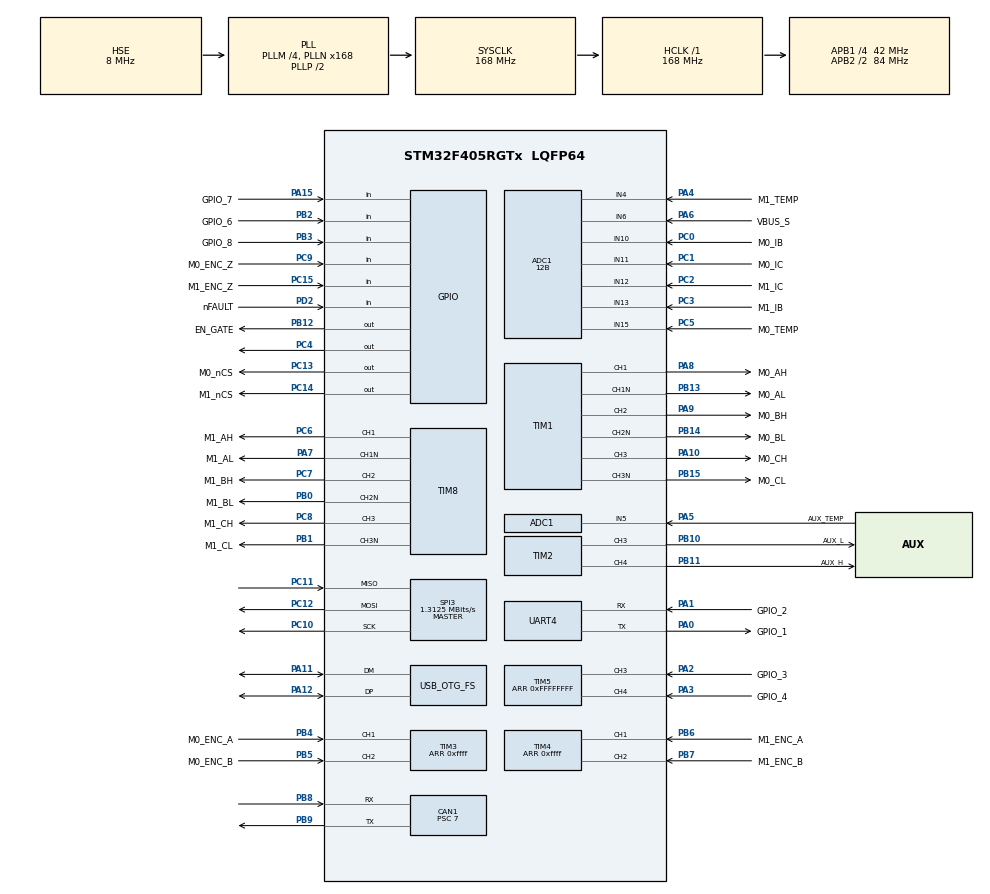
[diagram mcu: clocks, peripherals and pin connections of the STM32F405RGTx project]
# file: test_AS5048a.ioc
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ADC1.Channel-0\#ChannelRegularConversion=ADC_CHANNEL_6
ADC1.Channel-1\#ChannelInjectedConversion=ADC_CHANNEL_6
ADC1.ClockPrescaler=ADC_CLOCK_SYNC_PCLK_DIV4
ADC1.ContinuousConvMode=DISABLE
ADC1.DMAContinuousRequests=DISABLE
ADC1.DataAlign=ADC_DATAALIGN_RIGHT
ADC1.DiscontinuousConvMode=DISABLE
ADC1.EOCSelection=ADC_EOC_SINGLE_CONV
ADC1.EnableAnalogWatchDog=false
ADC1.ExternalTrigConv=ADC_SOFTWARE_START
ADC1.ExternalTrigConvEdge=ADC_EXTERNALTRIGCONVEDGE_NONE
ADC1.ExternalTrigInjecConv=ADC_EXTERNALTRIGINJECCONV_T1_TRGO
ADC1.ExternalTrigInjecConvEdge=ADC_EXTERNALTRIGINJECCONVEDGE_RISING
ADC1.InjNumberOfConversion=1
ADC1.InjectedConvMode=None
ADC1.InjectedOffset-1\#ChannelInjectedConversion=0
ADC1.NbrOfConversion=1
ADC1.NbrOfConversionFlag=1
ADC1.Rank-0\#ChannelRegularConversion=1
ADC1.Rank-1\#ChannelInjectedConversion=1
ADC1.Resolution=ADC_RESOLUTION_12B
ADC1.SamplingTime-0\#ChannelRegularConversion=ADC_SAMPLETIME_3CYCLES
ADC1.SamplingTime-1\#ChannelInjectedConversion=ADC_SAMPLETIME_3CYCLES
ADC1.ScanConvMode=DISABLE
ADC1.master=1
ADC2.Channel-0\#ChannelRegularConversion=ADC_CHANNEL_13
ADC2.Channel-1\#ChannelInjectedConversion=ADC_CHANNEL_10
ADC2.ClockPrescaler=ADC_CLOCK_SYNC_PCLK_DIV4
ADC2.ContinuousConvMode=DISABLE
ADC2.DMAContinuousRequests=DISABLE
ADC2.DataAlign=ADC_DATAALIGN_RIGHT
ADC2.DiscontinuousConvMode=DISABLE
ADC2.EOCSelection=ADC_EOC_SINGLE_CONV
ADC2.EnableAnalogWatchDog=false
ADC2.ExternalTrigConv=ADC_EXTERNALTRIGCONV_T8_TRGO
ADC2.ExternalTrigConvEdge=ADC_EXTERNALTRIGCONVEDGE_RISING
ADC2.ExternalTrigInjecConv=ADC_EXTERNALTRIGINJECCONV_T1_TRGO
ADC2.ExternalTrigInjecConvEdge=ADC_EXTERNALTRIGINJECCONVEDGE_RISING
ADC2.InjNumberOfConversion=1
ADC2.InjectedConvMode=None
ADC2.InjectedOffset-1\#ChannelInjectedConversion=0
ADC2.NbrOfConversion=1
ADC2.NbrOfConversionFlag=1
ADC2.Rank-0\#ChannelRegularConversion=1
ADC2.Rank-1\#ChannelInjectedConversion=1
ADC2.Resolution=ADC_RESOLUTION_12B
ADC2.SamplingTime-0\#ChannelRegularConversion=ADC_SAMPLETIME_3CYCLES
ADC2.SamplingTime-1\#ChannelInjectedConversion=ADC_SAMPLETIME_3CYCLES
ADC2.ScanConvMode=DISABLE
ADC3.Channel-7\#ChannelRegularConversion=ADC_CHANNEL_12
ADC3.Channel-8\#ChannelInjectedConversion=ADC_CHANNEL_11
ADC3.ClockPrescaler=ADC_CLOCK_SYNC_PCLK_DIV4
ADC3.ContinuousConvMode=DISABLE
ADC3.DMAContinuousRequests=DISABLE
ADC3.DataAlign=ADC_DATAALIGN_RIGHT
ADC3.DiscontinuousConvMode=DISABLE
ADC3.EOCSelection=ADC_EOC_SINGLE_CONV
ADC3.EnableAnalogWatchDog=false
ADC3.ExternalTrigConv=ADC_EXTERNALTRIGCONV_T8_TRGO
ADC3.ExternalTrigConvEdge=ADC_EXTERNALTRIGCONVEDGE_RISING
ADC3.ExternalTrigInjecConv=ADC_EXTERNALTRIGINJECCONV_T1_TRGO
ADC3.ExternalTrigInjecConvEdge=ADC_EXTERNALTRIGINJECCONVEDGE_RISING
ADC3.InjNumberOfConversion=1
ADC3.InjectedConvMode=None
ADC3.InjectedOffset-8\#ChannelInjectedConversion=0
ADC3.NbrOfConversion=1
ADC3.NbrOfConversionFlag=1
ADC3.Rank-7\#ChannelRegularConversion=1
ADC3.Rank-8\#ChannelInjectedConversion=1
ADC3.Resolution=ADC_RESOLUTION_12B
ADC3.SamplingTime-7\#ChannelRegularConversion=ADC_SAMPLETIME_3CYCLES
ADC3.SamplingTime-8\#ChannelInjectedConversion=ADC_SAMPLETIME_3CYCLES
ADC3.ScanConvMode=DISABLE
CAN1.AutoWakeUp=ENABLE
CAN1.BS1=CAN_BS1_6TQ
CAN1.BS2=CAN_BS2_5TQ
CAN1.CalculateBaudRate=499999
CAN1.CalculateTimeBit=2000
CAN1.CalculateTimeQuantum=166.66666666666669
CAN1.Prescaler=7
CAN1.TimeSeg1=CAN_BS1_6TQ
CAN1.TimeSeg2=CAN_BS2_5TQ
Dma.ADC1.2.Direction=DMA_PERIPH_TO_MEMORY
Dma.ADC1.2.FIFOMode=DMA_FIFOMODE_DISABLE
Dma.ADC1.2.Instance=DMA2_Stream0
Dma.ADC1.2.MemDataAlignment=DMA_MDATAALIGN_HALFWORD
Dma.ADC1.2.MemInc=DMA_MINC_ENABLE
Dma.ADC1.2.Mode=DMA_CIRCULAR
Dma.ADC1.2.PeriphDataAlignment=DMA_PDATAALIGN_HALFWORD
Dma.ADC1.2.PeriphInc=DMA_PINC_DISABLE
Dma.ADC1.2.Priority=DMA_PRIORITY_LOW
Dma.Request0=UART4_RX
Dma.Request1=UART4_TX
Dma.Request2=ADC1
Dma.UART4_RX.0.Direction=DMA_PERIPH_TO_MEMORY
Dma.UART4_RX.0.FIFOMode=DMA_FIFOMODE_DISABLE
Dma.UART4_RX.0.Instance=DMA1_Stream2
Dma.UART4_RX.0.MemDataAlignment=DMA_MDATAALIGN_BYTE
Dma.UART4_RX.0.MemInc=DMA_MINC_ENABLE
Dma.UART4_RX.0.Mode=DMA_CIRCULAR
Dma.UART4_RX.0.PeriphDataAlignment=DMA_PDATAALIGN_BYTE
Dma.UART4_RX.0.PeriphInc=DMA_PINC_DISABLE
Dma.UART4_RX.0.Priority=DMA_PRIORITY_LOW
Dma.UART4_TX.1.Direction=DMA_MEMORY_TO_PERIPH
Dma.UART4_TX.1.FIFOMode=DMA_FIFOMODE_DISABLE
Dma.UART4_TX.1.Instance=DMA1_Stream4
Dma.UART4_TX.1.MemDataAlignment=DMA_MDATAALIGN_BYTE
Dma.UART4_TX.1.MemInc=DMA_MINC_ENABLE
Dma.UART4_TX.1.Mode=DMA_NORMAL
Dma.UART4_TX.1.PeriphDataAlignment=DMA_PDATAALIGN_BYTE
Dma.UART4_TX.1.PeriphInc=DMA_PINC_DISABLE
Dma.UART4_TX.1.Priority=DMA_PRIORITY_LOW
FREERTOS.INCLUDE_uxTaskGetStackHighWaterMark=1
FREERTOS.INCLUDE_vTaskDelayUntil=1
FREERTOS.Tasks01=defaultTask,0,256,StartDefaultTask,Default,NULL,Dynamic,NULL,NULL
FREERTOS.configCHECK_FOR_STACK_OVERFLOW=1
FREERTOS.configTOTAL_HEAP_SIZE=65536
FREERTOS.configUSE_IDLE_HOOK=1
Mcu.Family=STM32F4
Mcu.Name=STM32F405RGTx
Mcu.Package=LQFP64
Mcu.UserConstants=TIM_1_8_CLOCK_HZ,168000000;TIM_1_8_PERIOD_CLOCKS,3500;TIM_1_8_DEADTIME_CLOCKS,20;TIM_APB1_CLOCK_HZ,84000000;TIM_APB1_PERIOD_CLOCKS,4096;TIM_APB1_DEADTIME_CLOCKS,40;TIM_1_8_RCR,2
NVIC.ADC_IRQn=true\:5\:0\:false\:false\:true\:true\:true\:true\:true
NVIC.CAN1_RX0_IRQn=true\:6\:0\:true\:false\:true\:true\:true\:true\:true
NVIC.CAN1_RX1_IRQn=true\:6\:0\:true\:false\:true\:true\:true\:true\:true
NVIC.CAN1_SCE_IRQn=true\:6\:0\:true\:false\:true\:true\:true\:true\:true
NVIC.CAN1_TX_IRQn=true\:6\:0\:true\:false\:true\:true\:true\:true\:true
NVIC.DMA1_Stream2_IRQn=true\:5\:0\:false\:false\:true\:true\:true\:true\:true
NVIC.DMA1_Stream4_IRQn=true\:5\:0\:false\:false\:true\:true\:false\:true\:true
NVIC.DMA2_Stream0_IRQn=true\:5\:0\:false\:false\:false\:true\:false\:true\:true
NVIC.OTG_FS_IRQn=true\:5\:0\:false\:false\:true\:true\:true\:true\:true
NVIC.PriorityGroup=NVIC_PRIORITYGROUP_4
NVIC.SPI3_IRQn=true\:5\:0\:false\:false\:true\:true\:true\:true\:true
NVIC.TIM1_UP_TIM10_IRQn=true\:5\:0\:false\:false\:false\:false\:true\:true\:true
NVIC.TIM5_IRQn=true\:5\:0\:false\:false\:true\:true\:true\:true\:true
NVIC.TIM8_TRG_COM_TIM14_IRQn=true\:0\:0\:false\:false\:true\:false\:false\:true\:true
NVIC.TIM8_UP_TIM13_IRQn=true\:5\:0\:false\:false\:false\:false\:true\:true\:true
NVIC.TimeBase=TIM8_TRG_COM_TIM14_IRQn
NVIC.TimeBaseIP=TIM14
NVIC.UART4_IRQn=true\:5\:0\:false\:false\:true\:true\:true\:true\:true
PA0-WKUP.GPIO_Label=GPIO_1
PA0-WKUP.GPIO_PuPd=GPIO_PULLDOWN
PA0-WKUP.Signal=SharedStack_PA0
PA0-WKUP.Stacked=true
PA1.GPIO_Label=GPIO_2
PA1.GPIO_PuPd=GPIO_NOPULL
PA1.Signal=SharedStack_PA1
PA1.Stacked=true
PA10.GPIO_Label=M0_CH
PA10.Signal=S_TIM1_CH3
PA11.Mode=Device_Only
PA11.Signal=USB_OTG_FS_DM
PA12.Mode=Device_Only
PA12.Signal=USB_OTG_FS_DP
PA13.Mode=Serial_Wire
PA13.Signal=SYS_JTMS-SWDIO
PA14.Mode=Serial_Wire
PA14.Signal=SYS_JTCK-SWCLK
PA15.GPIO_Label=GPIO_7
PA15.Signal=GPIO_Input
PA2.GPIO_Label=GPIO_3
PA2.Signal=S_TIM5_CH3
PA3.GPIO_Label=GPIO_4
PA3.Signal=S_TIM5_CH4
PA4.GPIO_Label=M1_TEMP
PA4.Signal=ADCx_IN4
PA5.GPIO_Label=AUX_TEMP
PA5.Signal=ADCx_IN5
PA6.GPIO_Label=VBUS_S
PA6.Signal=ADCx_IN6
PA7.GPIO_Label=M1_AL
PA7.Mode=PWM Generation1 CH1 CH1N
PA7.Signal=TIM8_CH1N
PA8.GPIO_Label=M0_AH
PA8.Signal=S_TIM1_CH1
PA9.GPIO_Label=M0_BH
PA9.Signal=S_TIM1_CH2
PB0.GPIO_Label=M1_BL
PB0.Mode=PWM Generation2 CH2 CH2N
PB0.Signal=TIM8_CH2N
PB1.GPIO_Label=M1_CL
PB1.Mode=PWM Generation3 CH3 CH3N
PB1.Signal=TIM8_CH3N
PB10.GPIO_Label=AUX_L
PB10.Signal=S_TIM2_CH3
PB11.GPIO_Label=AUX_H
PB11.Signal=S_TIM2_CH4
PB12.GPIO_Label=EN_GATE
PB12.Signal=GPIO_Output
PB13.GPIO_Label=M0_AL
PB13.Mode=PWM Generation1 CH1 CH1N
PB13.Signal=TIM1_CH1N
PB14.GPIO_Label=M0_BL
PB14.Mode=PWM Generation2 CH2 CH2N
PB14.Signal=TIM1_CH2N
PB15.GPIO_Label=M0_CL
PB15.Mode=PWM Generation3 CH3 CH3N
PB15.Signal=TIM1_CH3N
PB2.GPIO_Label=GPIO_6
PB2.Signal=GPIO_Input
PB3.GPIO_Label=GPIO_8
PB3.Signal=GPIO_Input
PB4.GPIO_Label=M0_ENC_A
PB4.Signal=S_TIM3_CH1
PB5.GPIO_Label=M0_ENC_B
PB5.Signal=S_TIM3_CH2
PB6.GPIO_Label=M1_ENC_A
PB6.Signal=S_TIM4_CH1
PB7.GPIO_Label=M1_ENC_B
PB7.Signal=S_TIM4_CH2
PB8.Signal=SharedStack_PB8
PB8.Stacked=true
PB9.Signal=SharedStack_PB9
PB9.Stacked=true
PC0.GPIO_Label=M0_IB
PC0.Signal=ADCx_IN10
PC1.GPIO_Label=M0_IC
PC1.Signal=ADCx_IN11
PC10.Mode=Full_Duplex_Master
PC10.Signal=SPI3_SCK
PC11.Mode=Full_Duplex_Master
PC11.Signal=SPI3_MISO
PC12.Mode=Full_Duplex_Master
PC12.Signal=SPI3_MOSI
PC13-ANTI_TAMP.GPIO_Label=M0_nCS
PC13-ANTI_TAMP.PinState=GPIO_PIN_SET
PC13-ANTI_TAMP.Signal=GPIO_Output
PC14-OSC32_IN.GPIO_Label=M1_nCS
PC14-OSC32_IN.PinState=GPIO_PIN_SET
PC14-OSC32_IN.Signal=GPIO_Output
PC15-OSC32_OUT.GPIO_Label=M1_ENC_Z
PC15-OSC32_OUT.Signal=GPIO_Input
PC2.GPIO_Label=M1_IC
PC2.Signal=ADCx_IN12
PC3.GPIO_Label=M1_IB
PC3.Signal=ADCx_IN13
PC4.GPIO_PuPd=GPIO_PULLUP
PC4.GPIO_Speed=GPIO_SPEED_FREQ_MEDIUM
PC4.PinState=GPIO_PIN_SET
PC4.Signal=GPIO_Output
PC5.GPIO_Label=M0_TEMP
PC5.Signal=ADCx_IN15
PC6.GPIO_Label=M1_AH
PC6.Signal=S_TIM8_CH1
PC7.GPIO_Label=M1_BH
PC7.Signal=S_TIM8_CH2
PC8.GPIO_Label=M1_CH
PC8.Signal=S_TIM8_CH3
PC9.GPIO_Label=M0_ENC_Z
PC9.Signal=GPIO_Input
PD2.GPIO_Label=nFAULT
PD2.GPIO_PuPd=GPIO_PULLUP
PD2.Signal=GPIO_Input
PH0-OSC_IN.Mode=HSE-External-Oscillator
PH0-OSC_IN.Signal=RCC_OSC_IN
PH1-OSC_OUT.Mode=HSE-External-Oscillator
PH1-OSC_OUT.Signal=RCC_OSC_OUT
ProjectManager.HeapSize=0x3C00
ProjectManager.StackSize=0x800
ProjectManager.TargetToolchain=CMake
RCC.48MHZClocksFreq_Value=48000000
RCC.AHBFreq_Value=168000000
RCC.APB1CLKDivider=RCC_HCLK_DIV4
RCC.APB1Freq_Value=42000000
RCC.APB1TimFreq_Value=84000000
RCC.APB2CLKDivider=RCC_HCLK_DIV2
RCC.APB2Freq_Value=84000000
RCC.APB2TimCLKDivider=1
RCC.APB2TimFreq_Value=84000000
RCC.CortexFreq_Value=168000000
RCC.HCLKFreq_Value=168000000
RCC.HSE_VALUE=8000000
RCC.HSI_VALUE=16000000
RCC.LSE_VALUE=32768
RCC.PLLM=4
RCC.PLLN=168
RCC.PLLQ=7
RCC.SYSCLKFreq_VALUE=168000000
RCC.SYSCLKSource=RCC_SYSCLKSOURCE_PLLCLK
RCC.VCOOutputFreq_Value=336000000
SH.ADCx_IN10.0=ADC1_IN10,IN10
SH.ADCx_IN10.1=ADC2_IN10,IN10
SH.ADCx_IN10.2=ADC3_IN10,IN10
SH.ADCx_IN11.0=ADC1_IN11,IN11
SH.ADCx_IN11.1=ADC2_IN11,IN11
SH.ADCx_IN11.2=ADC3_IN11,IN11
SH.ADCx_IN12.0=ADC1_IN12,IN12
SH.ADCx_IN12.1=ADC2_IN12,IN12
SH.ADCx_IN12.2=ADC3_IN12,IN12
SH.ADCx_IN13.0=ADC1_IN13,IN13
SH.ADCx_IN13.1=ADC2_IN13,IN13
SH.ADCx_IN13.2=ADC3_IN13,IN13
SH.ADCx_IN15.0=ADC1_IN15,IN15
SH.ADCx_IN15.1=ADC2_IN15,IN15
SH.ADCx_IN4.0=ADC1_IN4,IN4
SH.ADCx_IN4.1=ADC2_IN4,IN4
SH.ADCx_IN5.0=ADC1_IN5,IN5
SH.ADCx_IN5.1=ADC2_IN5,IN5
SH.ADCx_IN6.0=ADC1_IN6,IN6
SH.ADCx_IN6.1=ADC2_IN6,IN6
SH.S_TIM1_CH1.0=TIM1_CH1,PWM Generation1 CH1 CH1N
SH.S_TIM1_CH2.0=TIM1_CH2,PWM Generation2 CH2 CH2N
SH.S_TIM1_CH3.0=TIM1_CH3,PWM Generation3 CH3 CH3N
SH.S_TIM2_CH3.0=TIM2_CH3,PWM Generation3 CH3
SH.S_TIM2_CH4.0=TIM2_CH4,PWM Generation4 CH4
SH.S_TIM3_CH1.0=TIM3_CH1,Encoder_Interface
SH.S_TIM3_CH2.0=TIM3_CH2,Encoder_Interface
SH.S_TIM4_CH1.0=TIM4_CH1,Encoder_Interface
SH.S_TIM4_CH2.0=TIM4_CH2,Encoder_Interface
SH.S_TIM5_CH3.0=TIM5_CH3,Input_Capture3_from_TI3
SH.S_TIM5_CH4.0=TIM5_CH4,Input_Capture4_from_TI4
SH.S_TIM8_CH1.0=TIM8_CH1,PWM Generation1 CH1 CH1N
SH.S_TIM8_CH2.0=TIM8_CH2,PWM Generation2 CH2 CH2N
SH.S_TIM8_CH3.0=TIM8_CH3,PWM Generation3 CH3 CH3N
SH.SharedStack_PA0.0=GPIO_EXTI0+0
SH.SharedStack_PA0.1=UART4_TX,Asynchronous
SH.SharedStack_PA1.0=GPIO_Input+0
SH.SharedStack_PA1.1=UART4_RX,Asynchronous
SH.SharedStack_PB8.0=CAN1_RX,CAN_Activate
SH.SharedStack_PB8.1=I2C1_SCL
SH.SharedStack_PB9.0=CAN1_TX,CAN_Activate
SH.SharedStack_PB9.1=I2C1_SDA
SPI3.BaudRatePrescaler=SPI_BAUDRATEPRESCALER_32
SPI3.CLKPhase=SPI_PHASE_2EDGE
SPI3.CalculateBaudRate=1.3125 MBits/s
SPI3.DataSize=SPI_DATASIZE_16BIT
SPI3.Direction=SPI_DIRECTION_2LINES
SPI3.FirstBit=SPI_FIRSTBIT_MSB
SPI3.Mode=SPI_MODE_MASTER
SPI3.VirtualType=VM_MASTER
TIM1.Channel-Output\ Compare4\ No\ Output=TIM_CHANNEL_4
TIM1.Channel-PWM\ Generation1\ CH1\ CH1N=TIM_CHANNEL_1
TIM1.Channel-PWM\ Generation2\ CH2\ CH2N=TIM_CHANNEL_2
TIM1.Channel-PWM\ Generation3\ CH3\ CH3N=TIM_CHANNEL_3
TIM1.CounterMode=TIM_COUNTERMODE_CENTERALIGNED3
TIM1.DeadTime=TIM_1_8_DEADTIME_CLOCKS
TIM1.OCMode_PWM-PWM\ Generation1\ CH1\ CH1N=TIM_OCMODE_PWM2
TIM1.OCMode_PWM-PWM\ Generation2\ CH2\ CH2N=TIM_OCMODE_PWM2
TIM1.OCMode_PWM-PWM\ Generation3\ CH3\ CH3N=TIM_OCMODE_PWM2
TIM1.OCNPolarity_1=TIM_OCNPOLARITY_HIGH
TIM1.OCNPolarity_2=TIM_OCNPOLARITY_HIGH
TIM1.OCNPolarity_3=TIM_OCNPOLARITY_HIGH
TIM1.OffStateIDLEMode=TIM_OSSI_ENABLE
TIM1.OffStateRunMode=TIM_OSSR_ENABLE
TIM1.Period=TIM_1_8_PERIOD_CLOCKS
TIM1.RepetitionCounter=TIM_1_8_RCR
TIM1.TIM_MasterOutputTrigger=TIM_TRGO_UPDATE
TIM13.Period=(2 * TIM_1_8_PERIOD_CLOCKS * (TIM_1_8_RCR+1)) * (TIM_APB1_CLOCK_HZ / TIM_1_8_CLOCK_HZ)
TIM2.Channel-PWM\ Generation3\ CH3=TIM_CHANNEL_3
TIM2.Channel-PWM\ Generation4\ CH4=TIM_CHANNEL_4
TIM2.CounterMode=TIM_COUNTERMODE_CENTERALIGNED3
TIM2.OCMode_PWM-PWM\ Generation3\ CH3=TIM_OCMODE_PWM2
TIM2.OCMode_PWM-PWM\ Generation4\ CH4=TIM_OCMODE_PWM2
TIM2.OCPolarity_3=TIM_OCPOLARITY_LOW
TIM2.Period=TIM_APB1_PERIOD_CLOCKS
TIM2.Pulse-PWM\ Generation4\ CH4=TIM_APB1_PERIOD_CLOCKS+1
TIM3.EncoderMode=TIM_ENCODERMODE_TI12
TIM3.IC1Filter=4
TIM3.IC1Polarity=TIM_ICPOLARITY_RISING
TIM3.IC2Filter=4
TIM3.IC2Polarity=TIM_ICPOLARITY_RISING
TIM3.Period=0xffff
TIM4.EncoderMode=TIM_ENCODERMODE_TI12
TIM4.IC1Filter=4
TIM4.IC1Polarity=TIM_ICPOLARITY_RISING
TIM4.IC2Filter=4
TIM4.IC2Polarity=TIM_ICPOLARITY_RISING
TIM4.Period=0xffff
TIM5.Channel-Input_Capture3_from_TI3=TIM_CHANNEL_3
TIM5.Channel-Input_Capture4_from_TI4=TIM_CHANNEL_4
TIM5.ICFilter_CH3=15
TIM5.ICFilter_CH4=15
TIM5.ICPolarity_CH3=TIM_INPUTCHANNELPOLARITY_BOTHEDGE
TIM5.ICPolarity_CH4=TIM_INPUTCHANNELPOLARITY_BOTHEDGE
TIM5.Period=0xFFFFFFFF
TIM8.Channel-Output\ Compare4\ No\ Output=TIM_CHANNEL_4
TIM8.Channel-PWM\ Generation1\ CH1\ CH1N=TIM_CHANNEL_1
TIM8.Channel-PWM\ Generation2\ CH2\ CH2N=TIM_CHANNEL_2
TIM8.Channel-PWM\ Generation3\ CH3\ CH3N=TIM_CHANNEL_3
TIM8.CounterMode=TIM_COUNTERMODE_CENTERALIGNED3
TIM8.DeadTime=TIM_1_8_DEADTIME_CLOCKS
TIM8.OCMode_PWM-PWM\ Generation1\ CH1\ CH1N=TIM_OCMODE_PWM2
TIM8.OCMode_PWM-PWM\ Generation2\ CH2\ CH2N=TIM_OCMODE_PWM2
TIM8.OCMode_PWM-PWM\ Generation3\ CH3\ CH3N=TIM_OCMODE_PWM2
TIM8.OffStateIDLEMode=TIM_OSSI_ENABLE
TIM8.OffStateRunMode=TIM_OSSR_ENABLE
TIM8.Period=TIM_1_8_PERIOD_CLOCKS
TIM8.RepetitionCounter=TIM_1_8_RCR
TIM8.TIM_MasterOutputTrigger=TIM_TRGO_UPDATE
UART4.VirtualMode=Asynchronous
USB_DEVICE.APP_RX_DATA_SIZE-CDC_FS=64
USB_DEVICE.APP_TX_DATA_SIZE-CDC_FS=64
USB_DEVICE.CLASS_NAME_FS=CDC
USB_DEVICE.MANUFACTURER_STRING-CDC_FS=ODrive Robotics
USB_DEVICE.PID_CDC_FS=0x0D32
USB_DEVICE.PRODUCT_STRING_CDC_FS=ODrive v3.3
USB_DEVICE.SERIALNUMBER_STRING_CDC_FS=000000000001
USB_DEVICE.VID-CDC_FS=0x1209
USB_DEVICE.VirtualMode-CDC_FS=Cdc
USB_DEVICE.VirtualModeFS=Cdc_FS
USB_OTG_FS.VirtualMode=Device_Only
USB_OTG_FS.vbus_sensing_enable=DISABLE
VP_FREERTOS_VS_CMSIS_V1.Mode=CMSIS_V1
VP_SYS_VS_tim14.Mode=TIM14
VP_TIM13_VS_ClockSourceINT.Mode=Enable_Timer
VP_TIM1_VS_ClockSourceINT.Mode=Internal
VP_TIM1_VS_no_output4.Mode=Output Compare4 No Output
VP_USB_DEVICE_VS_USB_DEVICE_CDC_FS.Mode=CDC_FS
board=Odrive

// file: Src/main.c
/* USER CODE BEGIN Header */
/**
  ******************************************************************************
  * @file           : main.c
  * @brief          : Main program body
  ******************************************************************************
  */
/* USER CODE END Header */
#include "main.h"
#include "cmsis_os.h"
#include "adc.h"
#include "can.h"
#include "dma.h"
#include "spi.h"
#include "tim.h"
#include "usart.h"
#include "usb_device.h"
#include "gpio.h"

/* USER CODE BEGIN Includes */
#include <math.h>
#include "drv8301.h"
#include "foc.h"
#include "as5048a.h"
/* USER CODE END Includes */

/* USER CODE BEGIN PD */

#define SMA_WINDOW_SIZE 8
#define ENC_ERR_LIMIT 50
#define CALIB_VOLTAGE 0.35f

typedef struct
{
  uint16_t buf[SMA_WINDOW_SIZE];
  uint8_t idx;

}AngleSMA_t;

/* USER CODE END PD */

/* USER CODE BEGIN PV */
volatile uint8_t g_drv_status = 0xFF;
volatile uint16_t g_enc_raw = 0;
volatile float    g_enc_filt_counts = 0.0f;
volatile float    g_enc_filt_deg   = 0.0f;
volatile uint16_t g_enc_err        = 0;
volatile uint8_t  g_fault          = 0;
volatile uint32_t g_isr_cycles     = 0;

static AngleSMA_t g_sma;

volatile float current_angle = 0.0f;
volatile uint16_t current_raw = 0;

volatile float g_target_vq = 0.2f;

volatile float    dbg_theta_elec = 0.0f;
volatile float    dbg_vd = 0.0f;
volatile float    dbg_vq = 0.0f;
volatile uint16_t dbg_ccr1 = 0;
volatile uint16_t dbg_ccr2 = 0;
volatile uint16_t dbg_ccr3 = 0;
/* USER CODE END PV */

void SystemClock_Config(void);
void MX_FREERTOS_Init(void);

/* USER CODE BEGIN 0 */

static void AngleSMA_Init(AngleSMA_t *f, uint16_t raw)
{
  for(int i = 0; i < SMA_WINDOW_SIZE; i++)
  {
    f->buf[i] = raw;
  }

  f->idx = 0;
}

static float AngleSMA_Update(AngleSMA_t *f, uint16_t raw)
{
  f->buf[f->idx] = raw;
  f->idx = (uint8_t)((f->idx + 1) & (SMA_WINDOW_SIZE - 1));

  int32_t sum = 0;
  for(int i = 0; i < SMA_WINDOW_SIZE; i++)
  {
    int32_t d = (int32_t)f->buf[i] - (int32_t)raw;
    d = ((d + 8192) & 16383) - 8192; /* wrap [-8192 ; 8191]*/
    sum += d;
  }

  float out = (float)raw + (float)sum * (1.0f / (float)SMA_WINDOW_SIZE);

  if(out < 0.0f) out += 16384.0f;
  if(out > 16384.0f) out -= 16384.0f;

  return out;
}

static uint16_t WaitValidRaw(void)
{
  uint16_t r;
  do
  {
    r = AS5048A_ReadRaw();
    // for(volatile int i = 0; i < 5000; i++)
    // {
    //   __NOP();
    // }
    HAL_Delay(1);
  } while((r == AS5048A_ERR));

  return r;
}

/* USER CODE END 0 */

int main(void)
{

  /* MCU Configuration--------------------------------------------------------*/

  /* Reset of all peripherals, Initializes the Flash interface and the Systick. */
  HAL_Init();

  /* Configure the system clock */
  SystemClock_Config();

  /* Initialize all configured peripherals */
  MX_GPIO_Init();
  MX_DMA_Init();
  MX_ADC1_Init();
  MX_ADC2_Init();
  MX_CAN1_Init();
  MX_TIM1_Init();
  MX_TIM8_Init();
  MX_TIM3_Init();
  MX_TIM4_Init();
  MX_SPI3_Init();
  MX_ADC3_Init();
  MX_TIM2_Init();
  MX_UART4_Init();
  MX_TIM5_Init();
  MX_TIM13_Init();
  /* USER CODE BEGIN 2 */

  CoreDebug->DEMCR |= CoreDebug_DEMCR_TRCENA_Msk;
  DWT->CYCCNT = 0;
  DWT->CTRL |= DWT_CTRL_CYCCNTENA_Msk;

  //1.Encoder - AS5048A
  if(AS5048A_Init(&hspi3) != 0)
  {
    Error_Handler();
  }
  (void)WaitValidRaw();

  //2. Driver - DRV8301
  g_drv_status = DRV8301_M1_Init(DRV8301_GAIN_20VpV);
  if(g_drv_status != 0)
  {
    Error_Handler();
  }

  //3. Set duty 50% (0V) before starting
  FOC_M1_Init();
  HAL_GPIO_WritePin(GPIOB, GPIO_PIN_12, GPIO_PIN_SET); /*EN_GATE DRV8301*/

  //Enable TIM8 for controlling Motor 1
  HAL_TIM_PWM_Start(&htim8, TIM_CHANNEL_1);
  HAL_TIMEx_PWMN_Start(&htim8, TIM_CHANNEL_1);

  HAL_TIM_PWM_Start(&htim8, TIM_CHANNEL_2);
  HAL_TIMEx_PWMN_Start(&htim8, TIM_CHANNEL_2);

  HAL_TIM_PWM_Start(&htim8, TIM_CHANNEL_3);
  HAL_TIMEx_PWMN_Start(&htim8, TIM_CHANNEL_3);
  TIM8->BDTR |= TIM_BDTR_MOE; //Enable H bridge

  //4. Align Motor
  if(FOC_AutoCalibrate(CALIB_VOLTAGE) != 0)
  {
    Error_Handler(); //check g_calib_err
  }

  //5. SMA Init
  AngleSMA_Init(&g_sma, WaitValidRaw());
  AS5048A_Prime();

  //6. Enable TIM8 ISR Function
  __HAL_TIM_CLEAR_FLAG(&htim8, TIM_FLAG_UPDATE);
  HAL_TIM_Base_Start_IT(&htim8);

  /* USER CODE END 2 */

  while(1)
  {

}
}
void SystemClock_Config(void)
{
  RCC_OscInitTypeDef RCC_OscInitStruct = {0};
  RCC_ClkInitTypeDef RCC_ClkInitStruct = {0};

  /** Configure the main internal regulator output voltage
  */
  __HAL_RCC_PWR_CLK_ENABLE();
  __HAL_PWR_VOLTAGESCALING_CONFIG(PWR_REGULATOR_VOLTAGE_SCALE1);

  /** Initializes the RCC Oscillators according to the specified parameters
  * in the RCC_OscInitTypeDef structure.
  */
  RCC_OscInitStruct.OscillatorType = RCC_OSCILLATORTYPE_LSI|RCC_OSCILLATORTYPE_HSE;
  RCC_OscInitStruct.HSEState = RCC_HSE_ON;
  RCC_OscInitStruct.LSIState = RCC_LSI_ON;
  RCC_OscInitStruct.PLL.PLLState = RCC_PLL_ON;
  RCC_OscInitStruct.PLL.PLLSource = RCC_PLLSOURCE_HSE;
  RCC_OscInitStruct.PLL.PLLM = 4;
  RCC_OscInitStruct.PLL.PLLN = 168;
  RCC_OscInitStruct.PLL.PLLP = RCC_PLLP_DIV2;
  RCC_OscInitStruct.PLL.PLLQ = 7;
  if (HAL_RCC_OscConfig(&RCC_OscInitStruct) != HAL_OK)
  {
    Error_Handler();
  }

  /** Initializes the CPU, AHB and APB buses clocks
  */
  RCC_ClkInitStruct.ClockType = RCC_CLOCKTYPE_HCLK|RCC_CLOCKTYPE_SYSCLK
                              |RCC_CLOCKTYPE_PCLK1|RCC_CLOCKTYPE_PCLK2;
  RCC_ClkInitStruct.SYSCLKSource = RCC_SYSCLKSOURCE_PLLCLK;
  RCC_ClkInitStruct.AHBCLKDivider = RCC_SYSCLK_DIV1;
  RCC_ClkInitStruct.APB1CLKDivider = RCC_HCLK_DIV4;
  RCC_ClkInitStruct.APB2CLKDivider = RCC_HCLK_DIV2;

  if (HAL_RCC_ClockConfig(&RCC_ClkInitStruct, FLASH_LATENCY_5) != HAL_OK)
  {
    Error_Handler();
  }
}

void HAL_TIM_PeriodElapsedCallback(TIM_HandleTypeDef *htim)
{
  /* USER CODE BEGIN Callback 0 */
  if(htim->Instance == TIM8)
  {
    uint32_t t0 = DWT->CYCCNT;

    uint16_t raw = AS5048A_ReadFast();
    if(raw != AS5048A_ERR)
    {
      g_enc_err = 0;
      g_enc_raw = raw;
      float ang = AngleSMA_Update(&g_sma, raw); //count
      g_enc_filt_counts = ang;
      g_enc_filt_deg = ang * (360.0f / 16384.0f);

      FOC_VoltageMode_Step(ang, g_target_vq);
      dbg_ccr1 = TIM8->CCR1;
    dbg_ccr2 = TIM8->CCR2;
    dbg_ccr3 = TIM8->CCR3;
    }
    else if( ++g_enc_err > ENC_ERR_LIMIT)
    {
      FOC_M1_EmergencyStop();
      g_fault = 1;
    }
    g_isr_cycles = DWT->CYCCNT - t0;
  }

  /* USER CODE END Callback 0 */
  if (htim->Instance == TIM14)
  {
    HAL_IncTick();
  }
}

void Error_Handler(void)
{
  /* USER CODE BEGIN Error_Handler_Debug */
  FOC_M1_EmergencyStop();
  __disable_irq();
  while (1)
  {
  }
  /* USER CODE END Error_Handler_Debug */
}
